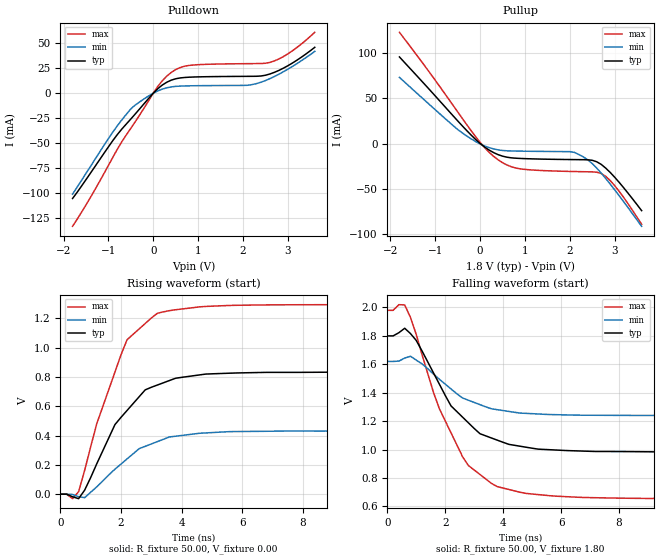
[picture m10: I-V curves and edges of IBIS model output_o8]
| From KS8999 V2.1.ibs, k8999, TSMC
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|   Model output_o8
[Model]   output_o8
Model_type   Output
Polarity   Non-Inverting
Vmeas =  1.50V
C_comp   1.36e-12F   1.40e-12F   1.31e-12F
[Temperature Range]   25   125   0
[Voltage Range]   1.80V   1.6V   2.0V
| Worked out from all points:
|   slope of the pulldown table from 0 to 0.27 V, typ, clamps not added: 26.7 ohm
|   slope of the pullup table from 0 to 0.27 V, typ, clamps not added: 29.2 ohm
|   rising waveform, R_fixture 50.00, V_fixture 0.00: 20-80 % time 1.49ns typ, 1.65ns min, 1.24ns max; typ from 0 V to 0.832 V
|   falling waveform, R_fixture 50.00, V_fixture 1.80: 20-80 % time 1.66ns typ, 1.67ns min, 1.56ns max; typ from 1.8 V to 0.984 V
[Pullup]
| voltage   I(typ)   I(min)   I(max)
-1.8V     95.56mA    73.06mA    122.8mA
-500mV    24.91mA    15.4mA     34.79mA
0V        43.11nA    -493.7uA   1.208mA
300mV     -10.07mA   -5.983mA   -14.19mA
500mV     -13.99mA   -7.713mA   -21.23mA
800mV     -16.24mA   -8.353mA   -27.14mA
2V        -17.72mA   -9.005mA   -30.83mA
2.2V      -17.83mA   -12.15mA   -31.04mA
2.5V      -18.54mA   -22.24mA   -31.34mA
2.8V      -27.23mA   -38.66mA   -36.24mA
3.1V      -42.95mA   -57.71mA   -52.82mA
3.6V      -74.12mA   -91.4mA    -89.21mA
[Pulldown]
| voltage   I(typ)   I(min)   I(max)
-1.8V     -105.6mA   -101.3mA   -133.5mA
-1.4V     -80.13mA   -73.42mA   -104.4mA
-900mV    -47.4mA    -38.87mA   -64.15mA
-500mV    -25.85mA   -15.71mA   -35.17mA
100mV     4.5mA      2.261mA    6.727mA
400mV     13.05mA    6.288mA    20.81mA
600mV     15.29mA    7.103mA    25.73mA
800mV     16.03mA    7.367mA    27.82mA
2.3V      16.97mA    9.597mA    29.69mA
2.6V      19.25mA    14.6mA     30.85mA
2.9V      25.06mA    21.46mA    36.7mA
3.6V      45.99mA    41.9mA     61.07mA
[Ramp]
| variable   typ   min   max
dV/dt_r   0.52/1.52e-09   0.27/1.68e-09   0.80/1.25e-09
dV/dt_f   0.52/1.72e-09   0.25/1.74e-09   0.83/1.58e-09
R_load = 50.00
[Rising Waveform]
R_fixture = 50.00
V_fixture = 0.00
V_fixture_min = 0.00
V_fixture_max = 0.00
| time   V(typ)   V(min)   V(max)
0s        0V         0V         0V
400ps     -17.68mV   -2.012mV   -30.83mV
600ps     -30.73mV   -17.76mV   16.96mV
1.2ns     207.7mV    49.97mV    481.3mV
1.8ns     474.9mV    170.5mV    833.6mV
2.2ns     571.3mV    240.6mV    1.054V
2.8ns     712mV      326.6mV    1.165V
3.2ns     744.8mV    358.6mV    1.234V
4.6ns     814.1mV    415.7mV    1.279V
60ns      832.3mV    431.2mV    1.294V
[Falling Waveform]
R_fixture = 50.00
V_fixture = 1.80
V_fixture_min = 1.62
V_fixture_max = 1.98
| time   V(typ)   V(min)   V(max)
0s        1.8V       1.62V      1.98V
600ps     1.854V     1.644V     2.018V
1ns       1.768V     1.629V     1.809V
1.8ns     1.459V     1.494V     1.286V
2.2ns     1.307V     1.426V     1.117V
2.8ns     1.188V     1.347V     887mV
3.8ns     1.066V     1.28V      738.6mV
4.8ns     1.016V     1.254V     690.7mV
10.6ns    983.9mV    1.24V      654.3mV
60ns      983.7mV    1.24V      653.8mV
